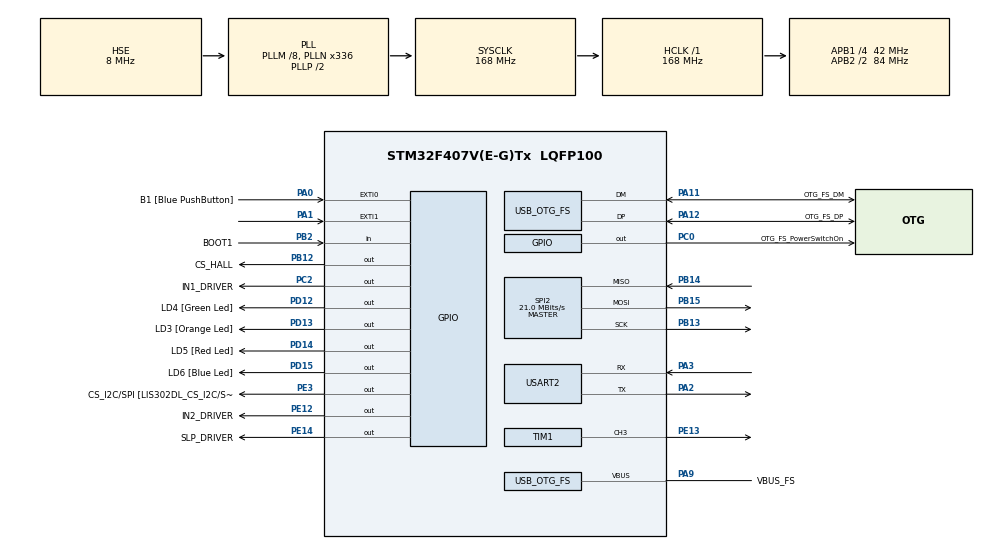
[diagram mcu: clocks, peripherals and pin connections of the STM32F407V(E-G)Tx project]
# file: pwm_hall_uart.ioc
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Mcu.Family=STM32F4
Mcu.Name=STM32F407V(E-G)Tx
Mcu.Package=LQFP100
NVIC.EXTI1_IRQn=true\:0\:0\:false\:false\:true\:true\:true\:true
NVIC.OTG_FS_IRQn=true\:0\:0\:false\:false\:true\:true\:true\:true
NVIC.PriorityGroup=NVIC_PRIORITYGROUP_0
PA0-WKUP.GPIO_Label=B1 [Blue PushButton]
PA0-WKUP.GPIO_ModeDefaultEXTI=GPIO_MODE_EVT_RISING
PA0-WKUP.GPIO_PuPd=GPIO_NOPULL
PA0-WKUP.Signal=GPXTI0
PA1.Signal=GPXTI1
PA11.GPIO_Label=OTG_FS_DM
PA11.GPIO_Mode=GPIO_MODE_AF_PP
PA11.GPIO_PuPd=GPIO_NOPULL
PA11.GPIO_Speed=GPIO_SPEED_FREQ_LOW
PA11.Mode=Host_Only
PA11.Signal=USB_OTG_FS_DM
PA12.GPIO_Label=OTG_FS_DP
PA12.GPIO_Mode=GPIO_MODE_AF_PP
PA12.GPIO_PuPd=GPIO_NOPULL
PA12.GPIO_Speed=GPIO_SPEED_FREQ_LOW
PA12.Mode=Host_Only
PA12.Signal=USB_OTG_FS_DP
PA13.GPIO_Label=SWDIO
PA13.Mode=Serial_Wire
PA13.Signal=SYS_JTMS-SWDIO
PA14.GPIO_Label=SWCLK
PA14.Mode=Serial_Wire
PA14.Signal=SYS_JTCK-SWCLK
PA2.Mode=Asynchronous
PA2.Signal=USART2_TX
PA3.Mode=Asynchronous
PA3.Signal=USART2_RX
PA9.GPIO_Label=VBUS_FS
PA9.GPIO_Mode=GPIO_MODE_INPUT
PA9.GPIO_PuPd=GPIO_NOPULL
PA9.Mode=Activate_VBUS
PA9.Signal=USB_OTG_FS_VBUS
PB12.GPIO_Label=CS_HALL
PB12.Signal=GPIO_Output
PB13.Mode=Full_Duplex_Master
PB13.Signal=SPI2_SCK
PB14.Mode=Full_Duplex_Master
PB14.Signal=SPI2_MISO
PB15.Mode=Full_Duplex_Master
PB15.Signal=SPI2_MOSI
PB2.GPIO_Label=BOOT1
PB2.GPIO_Mode=GPIO_MODE_INPUT
PB2.GPIO_PuPd=GPIO_NOPULL
PB2.Signal=GPIO_Input
PC0.GPIO_Label=OTG_FS_PowerSwitchOn
PC0.GPIO_PuPd=GPIO_NOPULL
PC0.GPIO_Speed=GPIO_SPEED_FREQ_LOW
PC0.PinState=GPIO_PIN_SET
PC0.Signal=GPIO_Output
PC14-OSC32_IN.GPIO_Label=PC14-OSC32_IN
PC14-OSC32_IN.Mode=LSE-External-Oscillator
PC14-OSC32_IN.Signal=RCC_OSC32_IN
PC15-OSC32_OUT.GPIO_Label=PC15-OSC32_OUT
PC15-OSC32_OUT.Mode=LSE-External-Oscillator
PC15-OSC32_OUT.Signal=RCC_OSC32_OUT
PC2.GPIO_Label=IN1_DRIVER
PC2.Signal=GPIO_Output
PC3.GPIO_Label=PDM_OUT [MP45DT02_DOUT]
PC3.GPIO_Mode=GPIO_MODE_AF_PP
PC3.GPIO_PuPd=GPIO_NOPULL
PC3.GPIO_Speed=GPIO_SPEED_FREQ_LOW
PC3.Signal=I2S2_SD
PD12.GPIO_Label=LD4 [Green Led]
PD12.GPIO_PuPd=GPIO_NOPULL
PD12.GPIO_Speed=GPIO_SPEED_FREQ_LOW
PD12.Signal=GPIO_Output
PD13.GPIO_Label=LD3 [Orange Led]
PD13.GPIO_PuPd=GPIO_NOPULL
PD13.GPIO_Speed=GPIO_SPEED_FREQ_LOW
PD13.Signal=GPIO_Output
PD14.GPIO_Label=LD5 [Red Led]
PD14.GPIO_PuPd=GPIO_NOPULL
PD14.GPIO_Speed=GPIO_SPEED_FREQ_LOW
PD14.Signal=GPIO_Output
PD15.GPIO_Label=LD6 [Blue Led]
PD15.GPIO_PuPd=GPIO_NOPULL
PD15.GPIO_Speed=GPIO_SPEED_FREQ_LOW
PD15.Signal=GPIO_Output
PE12.GPIO_Label=IN2_DRIVER
PE12.Signal=GPIO_Output
PE13.Signal=S_TIM1_CH3
PE14.GPIO_Label=SLP_DRIVER
PE14.Signal=GPIO_Output
PE3.GPIO_Label=CS_I2C/SPI [LIS302DL_CS_I2C/SPI]
PE3.GPIO_PuPd=GPIO_NOPULL
PE3.GPIO_Speed=GPIO_SPEED_FREQ_LOW
PE3.Signal=GPIO_Output
PH0-OSC_IN.GPIO_Label=PH0-OSC_IN
PH0-OSC_IN.Mode=HSE-External-Oscillator
PH0-OSC_IN.Signal=RCC_OSC_IN
PH1-OSC_OUT.GPIO_Label=PH1-OSC_OUT
PH1-OSC_OUT.Mode=HSE-External-Oscillator
PH1-OSC_OUT.Signal=RCC_OSC_OUT
ProjectManager.HeapSize=0x200
ProjectManager.StackSize=0x400
ProjectManager.TargetToolchain=STM32CubeIDE
RCC.48MHZClocksFreq_Value=48000000
RCC.AHBFreq_Value=168000000
RCC.APB1CLKDivider=RCC_HCLK_DIV4
RCC.APB1Freq_Value=42000000
RCC.APB1TimFreq_Value=84000000
RCC.APB2CLKDivider=RCC_HCLK_DIV2
RCC.APB2Freq_Value=84000000
RCC.APB2TimFreq_Value=168000000
RCC.CortexFreq_Value=168000000
RCC.HCLKFreq_Value=168000000
RCC.HSE_VALUE=8000000
RCC.HSI_VALUE=16000000
RCC.PLLM=8
RCC.PLLN=336
RCC.PLLQ=7
RCC.SYSCLKFreq_VALUE=168000000
RCC.SYSCLKSource=RCC_SYSCLKSOURCE_PLLCLK
RCC.VCOOutputFreq_Value=336000000
SH.S_TIM1_CH3.0=TIM1_CH3,PWM Generation3 CH3
SPI2.CalculateBaudRate=21.0 MBits/s
SPI2.Direction=SPI_DIRECTION_2LINES
SPI2.Mode=SPI_MODE_MASTER
SPI2.VirtualType=VM_MASTER
TIM1.Channel-PWM\ Generation3\ CH3=TIM_CHANNEL_3
TIM1.Period=999
TIM1.Prescaler=83
USART2.VirtualMode=VM_ASYNC
USB_HOST.BSP.number=1
USB_HOST.USBH_HandleTypeDef-CDC_FS=hUsbHostFS
USB_HOST.VirtualModeFS=Cdc
USB_HOST0.BSP.STBoard=false
USB_HOST0.BSP.api=Unknown
USB_HOST0.BSP.instance=PC0
USB_HOST0.BSP.ip=GPIO
USB_HOST0.BSP.mode=Output
USB_HOST0.BSP.name=Drive_VBUS_FS
USB_HOST0.BSP.solution=PC0
USB_OTG_FS.VirtualMode=Host_Only
USB_OTG_FS.phy_itface=HCD_PHY_EMBEDDED
VP_TIM1_VS_ClockSourceINT.Mode=Internal
VP_USB_HOST_VS_USB_HOST_CDC_FS.Mode=CDC_FS
board=STM32F407G-DISC1

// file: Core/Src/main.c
/* USER CODE BEGIN Header */
/**
  ******************************************************************************
  * @file           : main.c
  * @brief          : Main program body
  ******************************************************************************
  * @attention
  *
  * Copyright (c) 2025 STMicroelectronics.
  * All rights reserved.
  *
  * This software is licensed under terms that can be found in the LICENSE file
  * in the root directory of this software component.
  * If no LICENSE file comes with this software, it is provided AS-IS.
  *
  ******************************************************************************
  */
/* USER CODE END Header */
#include "main.h"
#include "usb_host.h"

/* USER CODE BEGIN Includes */
#include <stdio.h>
/* USER CODE END Includes */

/* USER CODE BEGIN PM */

#define CS_HALL_Pin        GPIO_PIN_12
#define CS_HALL_GPIO_Port  GPIOB
// main.h
#define IN1_DRIVER_Pin        GPIO_PIN_2
#define IN1_DRIVER_GPIO_Port  GPIOC

#define IN2_DRIVER_Pin        GPIO_PIN_12
#define IN2_DRIVER_GPIO_Port  GPIOE

#define SLP_DRIVER_Pin        GPIO_PIN_14
#define SLP_DRIVER_GPIO_Port  GPIOE

// (PWM en PE13 lo maneja el AF del TIM1_CH3: no definas como salida GPIO simple)

/* USER CODE END PM */

SPI_HandleTypeDef hspi2;

TIM_HandleTypeDef htim1;

UART_HandleTypeDef huart2;

void SystemClock_Config(void);
static void MX_GPIO_Init(void);
static void MX_SPI2_Init(void);
static void MX_TIM1_Init(void);
static void MX_USART2_UART_Init(void);
void MX_USB_HOST_Process(void);

/* USER CODE BEGIN PFP */
static inline void driver_enable(uint8_t en) {
    HAL_GPIO_WritePin(SLP_DRIVER_GPIO_Port, SLP_DRIVER_Pin, en ? GPIO_PIN_SET : GPIO_PIN_RESET);
}

typedef enum { DIR_ADELANTE = 0, DIR_ATRAS = 1 } dir_t;
static inline void driver_set_dir(dir_t d) {
    if (d == DIR_ADELANTE) {
        HAL_GPIO_WritePin(IN1_DRIVER_GPIO_Port, IN1_DRIVER_Pin, GPIO_PIN_SET);
        HAL_GPIO_WritePin(IN2_DRIVER_GPIO_Port, IN2_DRIVER_Pin, GPIO_PIN_RESET);
    } else {
        HAL_GPIO_WritePin(IN1_DRIVER_GPIO_Port, IN1_DRIVER_Pin, GPIO_PIN_RESET);
        HAL_GPIO_WritePin(IN2_DRIVER_GPIO_Port, IN2_DRIVER_Pin, GPIO_PIN_SET);
    }
}
/* USER CODE END PFP */

/* USER CODE BEGIN 0 */
uint32_t last_press_time = 0;  // Antirrebote
volatile uint8_t step_count = 0;
const uint8_t duty_steps[6] = {0, 20, 40, 60, 80, 90};

void Set_PWM_Duty(uint8_t percent) {
    if (percent > 100) return;
    uint32_t pulse = (percent * (__HAL_TIM_GET_AUTORELOAD(&htim1) + 1)) / 100;
    __HAL_TIM_SET_COMPARE(&htim1, TIM_CHANNEL_3, pulse);
}

void HAL_GPIO_EXTI_Callback(uint16_t GPIO_Pin) {
    if (GPIO_Pin == GPIO_PIN_1) {
        if (HAL_GetTick() - last_press_time > 50) { // 200 ms de antirrebote
            step_count = (step_count + 1) % 6;
            Set_PWM_Duty(duty_steps[step_count]);
            last_press_time = HAL_GetTick();
        }
    }
}

// Función para leer 2 bytes del sensor
uint16_t Read_Current_Raw(void) {
    uint8_t tx_dummy[2] = {0x00, 0x00};
    uint8_t rx_data[2] = {0};

    // Después (bien): PB12
    HAL_GPIO_WritePin(GPIOB, GPIO_PIN_12, GPIO_PIN_RESET);
    HAL_SPI_TransmitReceive(&hspi2, tx_dummy, rx_data, 2, HAL_MAX_DELAY);
    HAL_GPIO_WritePin(GPIOB, GPIO_PIN_12, GPIO_PIN_SET);

    uint16_t raw = ((uint16_t)rx_data[0] << 8) | rx_data[1];
    return raw & 0x0FFF;  // 12 bits
}

// Redirige printf al UART
int __io_putchar(int ch) {
    HAL_UART_Transmit(&huart2, (uint8_t *)&ch, 1, HAL_MAX_DELAY);
    return ch;
}
/* USER CODE END 0 */

int main(void)
{

  /* MCU Configuration--------------------------------------------------------*/

  /* Reset of all peripherals, Initializes the Flash interface and the Systick. */
  HAL_Init();

  /* Configure the system clock */
  SystemClock_Config();

  /* Initialize all configured peripherals */
  MX_GPIO_Init();
  MX_USB_HOST_Init();
  MX_SPI2_Init();
  MX_TIM1_Init();
  MX_USART2_UART_Init();
  /* USER CODE BEGIN 2 */
  driver_enable(1);
  driver_set_dir(DIR_ADELANTE);  // o DIR_ATRAS, como prefieras
  HAL_TIM_PWM_Start(&htim1, TIM_CHANNEL_3);
  Set_PWM_Duty(0);  // Arranca en 0%
  /* USER CODE END 2 */

  /* Infinite loop */
  while (1)
  {
    MX_USB_HOST_Process();

    /* USER CODE BEGIN 3 */
      uint32_t suma_raw = 0;
	  for (int i = 0; i < 10; i++) {
		  suma_raw += Read_Current_Raw();
		  HAL_Delay(10);  // Pequeño retardo entre muestras
	  }

	  uint16_t raw_promedio = suma_raw / 10;
	  float current_mA = (raw_promedio - 2049) * 25.0f;

	  // Mostrar datos actuales
	  printf("Corriente Promedio: %.2f mA | Raw: %u | PWM Duty: %u%%\r\n",
			 current_mA, raw_promedio, duty_steps[step_count]);

	  // Subir PWM si corriente > 125 mA y no estamos al máximo
	  if (current_mA > 100.0f && step_count < (sizeof(duty_steps)/sizeof(duty_steps[0]) - 1)) {
		  step_count++;
		  Set_PWM_Duty(duty_steps[step_count]);
		  printf("PWM aumentado a %u%% por corriente alta.\r\n", duty_steps[step_count]);
	  }

	  HAL_Delay(1000);  // 1 segundo entre mediciones promedio
  }
  /* USER CODE END 3 */
}

void SystemClock_Config(void)
{
  RCC_OscInitTypeDef RCC_OscInitStruct = {0};
  RCC_ClkInitTypeDef RCC_ClkInitStruct = {0};

  /** Configure the main internal regulator output voltage
  */
  __HAL_RCC_PWR_CLK_ENABLE();
  __HAL_PWR_VOLTAGESCALING_CONFIG(PWR_REGULATOR_VOLTAGE_SCALE1);

  /** Initializes the RCC Oscillators according to the specified parameters
  * in the RCC_OscInitTypeDef structure.
  */
  RCC_OscInitStruct.OscillatorType = RCC_OSCILLATORTYPE_HSE;
  RCC_OscInitStruct.HSEState = RCC_HSE_ON;
  RCC_OscInitStruct.PLL.PLLState = RCC_PLL_ON;
  RCC_OscInitStruct.PLL.PLLSource = RCC_PLLSOURCE_HSE;
  RCC_OscInitStruct.PLL.PLLM = 8;
  RCC_OscInitStruct.PLL.PLLN = 336;
  RCC_OscInitStruct.PLL.PLLP = RCC_PLLP_DIV2;
  RCC_OscInitStruct.PLL.PLLQ = 7;
  if (HAL_RCC_OscConfig(&RCC_OscInitStruct) != HAL_OK)
  {
    Error_Handler();
  }

  /** Initializes the CPU, AHB and APB buses clocks
  */
  RCC_ClkInitStruct.ClockType = RCC_CLOCKTYPE_HCLK|RCC_CLOCKTYPE_SYSCLK
                              |RCC_CLOCKTYPE_PCLK1|RCC_CLOCKTYPE_PCLK2;
  RCC_ClkInitStruct.SYSCLKSource = RCC_SYSCLKSOURCE_PLLCLK;
  RCC_ClkInitStruct.AHBCLKDivider = RCC_SYSCLK_DIV1;
  RCC_ClkInitStruct.APB1CLKDivider = RCC_HCLK_DIV4;
  RCC_ClkInitStruct.APB2CLKDivider = RCC_HCLK_DIV2;

  if (HAL_RCC_ClockConfig(&RCC_ClkInitStruct, FLASH_LATENCY_5) != HAL_OK)
  {
    Error_Handler();
  }
}

static void MX_SPI2_Init(void)
{

  /* SPI2 parameter configuration*/
  hspi2.Instance = SPI2;
  hspi2.Init.Mode = SPI_MODE_MASTER;
  hspi2.Init.Direction = SPI_DIRECTION_2LINES;
  hspi2.Init.DataSize = SPI_DATASIZE_8BIT;
  hspi2.Init.CLKPolarity = SPI_POLARITY_LOW;
  hspi2.Init.CLKPhase = SPI_PHASE_1EDGE;
  hspi2.Init.NSS = SPI_NSS_SOFT;
  hspi2.Init.BaudRatePrescaler = SPI_BAUDRATEPRESCALER_2;
  hspi2.Init.FirstBit = SPI_FIRSTBIT_MSB;
  hspi2.Init.TIMode = SPI_TIMODE_DISABLE;
  hspi2.Init.CRCCalculation = SPI_CRCCALCULATION_DISABLE;
  hspi2.Init.CRCPolynomial = 10;
  if (HAL_SPI_Init(&hspi2) != HAL_OK)
  {
    Error_Handler();
  }

}

static void MX_TIM1_Init(void)
{

  TIM_ClockConfigTypeDef sClockSourceConfig = {0};
  TIM_MasterConfigTypeDef sMasterConfig = {0};
  TIM_OC_InitTypeDef sConfigOC = {0};
  TIM_BreakDeadTimeConfigTypeDef sBreakDeadTimeConfig = {0};

  htim1.Instance = TIM1;
  htim1.Init.Prescaler = 83;
  htim1.Init.CounterMode = TIM_COUNTERMODE_UP;
  htim1.Init.Period = 999;
  htim1.Init.ClockDivision = TIM_CLOCKDIVISION_DIV1;
  htim1.Init.RepetitionCounter = 0;
  htim1.Init.AutoReloadPreload = TIM_AUTORELOAD_PRELOAD_DISABLE;
  if (HAL_TIM_Base_Init(&htim1) != HAL_OK)
  {
    Error_Handler();
  }
  sClockSourceConfig.ClockSource = TIM_CLOCKSOURCE_INTERNAL;
  if (HAL_TIM_ConfigClockSource(&htim1, &sClockSourceConfig) != HAL_OK)
  {
    Error_Handler();
  }
  if (HAL_TIM_PWM_Init(&htim1) != HAL_OK)
  {
    Error_Handler();
  }
  sMasterConfig.MasterOutputTrigger = TIM_TRGO_RESET;
  sMasterConfig.MasterSlaveMode = TIM_MASTERSLAVEMODE_DISABLE;
  if (HAL_TIMEx_MasterConfigSynchronization(&htim1, &sMasterConfig) != HAL_OK)
  {
    Error_Handler();
  }
  sConfigOC.OCMode = TIM_OCMODE_PWM1;
  sConfigOC.Pulse = 0;
  sConfigOC.OCPolarity = TIM_OCPOLARITY_HIGH;
  sConfigOC.OCNPolarity = TIM_OCNPOLARITY_HIGH;
  sConfigOC.OCFastMode = TIM_OCFAST_DISABLE;
  sConfigOC.OCIdleState = TIM_OCIDLESTATE_RESET;
  sConfigOC.OCNIdleState = TIM_OCNIDLESTATE_RESET;
  if (HAL_TIM_PWM_ConfigChannel(&htim1, &sConfigOC, TIM_CHANNEL_3) != HAL_OK)
  {
    Error_Handler();
  }
  sBreakDeadTimeConfig.OffStateRunMode = TIM_OSSR_DISABLE;
  sBreakDeadTimeConfig.OffStateIDLEMode = TIM_OSSI_DISABLE;
  sBreakDeadTimeConfig.LockLevel = TIM_LOCKLEVEL_OFF;
  sBreakDeadTimeConfig.DeadTime = 0;
  sBreakDeadTimeConfig.BreakState = TIM_BREAK_DISABLE;
  sBreakDeadTimeConfig.BreakPolarity = TIM_BREAKPOLARITY_HIGH;
  sBreakDeadTimeConfig.AutomaticOutput = TIM_AUTOMATICOUTPUT_DISABLE;
  if (HAL_TIMEx_ConfigBreakDeadTime(&htim1, &sBreakDeadTimeConfig) != HAL_OK)
  {
    Error_Handler();
  }
  HAL_TIM_MspPostInit(&htim1);

}

static void MX_USART2_UART_Init(void)
{

  huart2.Instance = USART2;
  huart2.Init.BaudRate = 115200;
  huart2.Init.WordLength = UART_WORDLENGTH_8B;
  huart2.Init.StopBits = UART_STOPBITS_1;
  huart2.Init.Parity = UART_PARITY_NONE;
  huart2.Init.Mode = UART_MODE_TX_RX;
  huart2.Init.HwFlowCtl = UART_HWCONTROL_NONE;
  huart2.Init.OverSampling = UART_OVERSAMPLING_16;
  if (HAL_UART_Init(&huart2) != HAL_OK)
  {
    Error_Handler();
  }

}

static void MX_GPIO_Init(void)
{
  GPIO_InitTypeDef GPIO_InitStruct = {0};

  /* GPIO Ports Clock Enable */
  __HAL_RCC_GPIOE_CLK_ENABLE();
  __HAL_RCC_GPIOC_CLK_ENABLE();
  __HAL_RCC_GPIOH_CLK_ENABLE();
  __HAL_RCC_GPIOA_CLK_ENABLE();
  __HAL_RCC_GPIOB_CLK_ENABLE();
  __HAL_RCC_GPIOD_CLK_ENABLE();

  /*Configure GPIO pin Output Level */
  HAL_GPIO_WritePin(GPIOE, CS_I2C_SPI_Pin|IN2_DRIVER_Pin|SLP_DRIVER_Pin, GPIO_PIN_RESET);

  /*Configure GPIO pin Output Level */
  HAL_GPIO_WritePin(OTG_FS_PowerSwitchOn_GPIO_Port, OTG_FS_PowerSwitchOn_Pin, GPIO_PIN_SET);

  /*Configure GPIO pin Output Level */
  HAL_GPIO_WritePin(IN1_DRIVER_GPIO_Port, IN1_DRIVER_Pin, GPIO_PIN_RESET);

  /*Configure GPIO pin Output Level */
  HAL_GPIO_WritePin(CS_HALL_GPIO_Port, CS_HALL_Pin, GPIO_PIN_RESET);

  /*Configure GPIO pin Output Level */
  HAL_GPIO_WritePin(GPIOD, LD4_Pin|LD3_Pin|LD5_Pin|LD6_Pin, GPIO_PIN_RESET);

  /*Configure GPIO pins : CS_I2C_SPI_Pin IN2_DRIVER_Pin SLP_DRIVER_Pin */
  GPIO_InitStruct.Pin = CS_I2C_SPI_Pin|IN2_DRIVER_Pin|SLP_DRIVER_Pin;
  GPIO_InitStruct.Mode = GPIO_MODE_OUTPUT_PP;
  GPIO_InitStruct.Pull = GPIO_NOPULL;
  GPIO_InitStruct.Speed = GPIO_SPEED_FREQ_LOW;
  HAL_GPIO_Init(GPIOE, &GPIO_InitStruct);

  /*Configure GPIO pins : OTG_FS_PowerSwitchOn_Pin IN1_DRIVER_Pin */
  GPIO_InitStruct.Pin = OTG_FS_PowerSwitchOn_Pin|IN1_DRIVER_Pin;
  GPIO_InitStruct.Mode = GPIO_MODE_OUTPUT_PP;
  GPIO_InitStruct.Pull = GPIO_NOPULL;
  GPIO_InitStruct.Speed = GPIO_SPEED_FREQ_LOW;
  HAL_GPIO_Init(GPIOC, &GPIO_InitStruct);

  /*Configure GPIO pin : PDM_OUT_Pin */
  GPIO_InitStruct.Pin = PDM_OUT_Pin;
  GPIO_InitStruct.Mode = GPIO_MODE_AF_PP;
  GPIO_InitStruct.Pull = GPIO_NOPULL;
  GPIO_InitStruct.Speed = GPIO_SPEED_FREQ_LOW;
  GPIO_InitStruct.Alternate = GPIO_AF5_SPI2;
  HAL_GPIO_Init(PDM_OUT_GPIO_Port, &GPIO_InitStruct);

  /*Configure GPIO pin : B1_Pin */
  GPIO_InitStruct.Pin = B1_Pin;
  GPIO_InitStruct.Mode = GPIO_MODE_EVT_RISING;
  GPIO_InitStruct.Pull = GPIO_NOPULL;
  HAL_GPIO_Init(B1_GPIO_Port, &GPIO_InitStruct);

  /*Configure GPIO pin : PA1 */
  GPIO_InitStruct.Pin = GPIO_PIN_1;
  GPIO_InitStruct.Mode = GPIO_MODE_IT_RISING;
  GPIO_InitStruct.Pull = GPIO_NOPULL;
  HAL_GPIO_Init(GPIOA, &GPIO_InitStruct);

  /*Configure GPIO pin : BOOT1_Pin */
  GPIO_InitStruct.Pin = BOOT1_Pin;
  GPIO_InitStruct.Mode = GPIO_MODE_INPUT;
  GPIO_InitStruct.Pull = GPIO_NOPULL;
  HAL_GPIO_Init(BOOT1_GPIO_Port, &GPIO_InitStruct);

  /*Configure GPIO pin : CS_HALL_Pin */
  GPIO_InitStruct.Pin = CS_HALL_Pin;
  GPIO_InitStruct.Mode = GPIO_MODE_OUTPUT_PP;
  GPIO_InitStruct.Pull = GPIO_NOPULL;
  GPIO_InitStruct.Speed = GPIO_SPEED_FREQ_LOW;
  HAL_GPIO_Init(CS_HALL_GPIO_Port, &GPIO_InitStruct);

  /*Configure GPIO pins : LD4_Pin LD3_Pin LD5_Pin LD6_Pin */
  GPIO_InitStruct.Pin = LD4_Pin|LD3_Pin|LD5_Pin|LD6_Pin;
  GPIO_InitStruct.Mode = GPIO_MODE_OUTPUT_PP;
  GPIO_InitStruct.Pull = GPIO_NOPULL;
  GPIO_InitStruct.Speed = GPIO_SPEED_FREQ_LOW;
  HAL_GPIO_Init(GPIOD, &GPIO_InitStruct);

  /* EXTI interrupt init*/
  HAL_NVIC_SetPriority(EXTI1_IRQn, 0, 0);
  HAL_NVIC_EnableIRQ(EXTI1_IRQn);

  /* USER CODE BEGIN MX_GPIO_Init_2 */
  // IN1 en PC2
  GPIO_InitStruct.Pin = IN1_DRIVER_Pin;           // GPIO_PIN_2
  GPIO_InitStruct.Mode = GPIO_MODE_OUTPUT_PP;
  GPIO_InitStruct.Pull = GPIO_NOPULL;
  GPIO_InitStruct.Speed = GPIO_SPEED_FREQ_LOW;
  HAL_GPIO_Init(IN1_DRIVER_GPIO_Port, &GPIO_InitStruct);

  // IN2 en PE12 y SLP en PE14
  GPIO_InitStruct.Pin = IN2_DRIVER_Pin | SLP_DRIVER_Pin;   // GPIO_PIN_12 | GPIO_PIN_14
  GPIO_InitStruct.Mode = GPIO_MODE_OUTPUT_PP;
  GPIO_InitStruct.Pull = GPIO_NOPULL;
  GPIO_InitStruct.Speed = GPIO_SPEED_FREQ_LOW;
  HAL_GPIO_Init(GPIOE, &GPIO_InitStruct);

  // Estados iniciales: SLP alto (habilitar), IN1/IN2 en reposo
  HAL_GPIO_WritePin(SLP_DRIVER_GPIO_Port, SLP_DRIVER_Pin, GPIO_PIN_SET);
  HAL_GPIO_WritePin(IN1_DRIVER_GPIO_Port, IN1_DRIVER_Pin, GPIO_PIN_RESET);
  HAL_GPIO_WritePin(IN2_DRIVER_GPIO_Port, IN2_DRIVER_Pin, GPIO_PIN_RESET);

  /* USER CODE END MX_GPIO_Init_2 */
}

void Error_Handler(void)
{
  __disable_irq();
  while (1)
  {
  }
}
